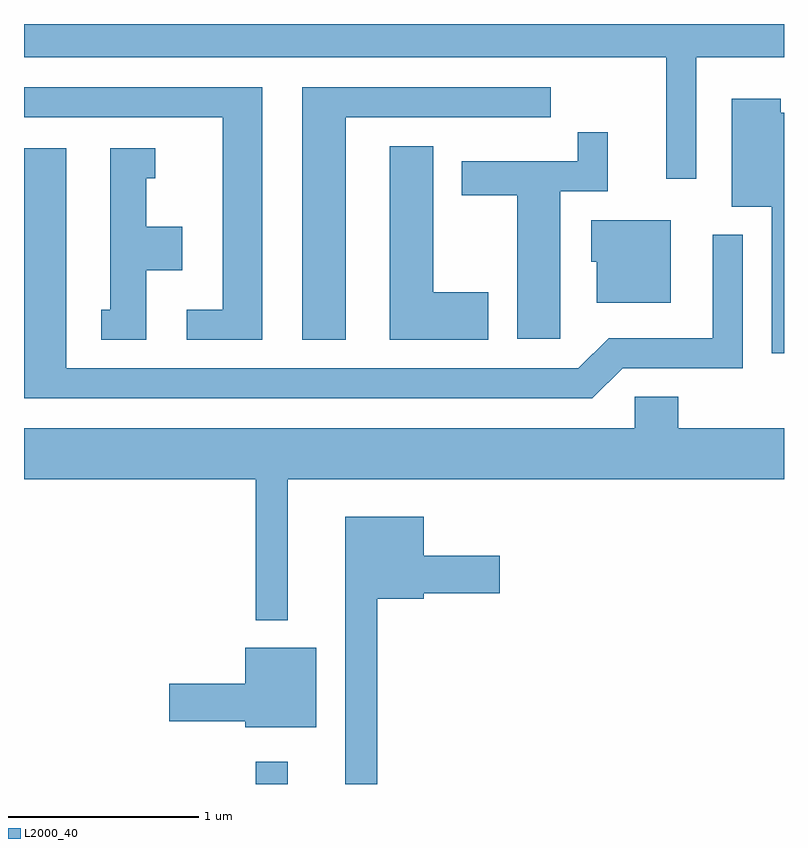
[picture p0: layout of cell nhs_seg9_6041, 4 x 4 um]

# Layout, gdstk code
import gdstk
lib = gdstk.Library(unit=1e-6, precision=1e-09)
def R(c, l, rs):  # rectangles x0, y0, x1, y1
    for r in rs: c.add(gdstk.rectangle(r[:2], r[2:], *l))
def P(c, l, *ps):  # polygons
    for p in ps: c.add(gdstk.Polygon(p, *l))
L2000_40 = (2000, 40)

nhs_seg9_6041 = lib.new_cell('nhs_seg9_6041')
R(nhs_seg9_6041, L2000_40, [(364.831,1992.432,364.999,1992.548)])
P(nhs_seg9_6041, L2000_40, [(367.149,1996.256),(367.611,1996.256),(367.611,1996.432),(363.611,1996.432),(363.611,1996.256),(366.991,1996.256),(366.991,1995.618),(367.149,1995.618)],
  [(365.304,1995.941),(366.383,1995.941),(366.383,1996.099),(365.076,1996.099),(365.076,1994.771),(365.304,1994.771)],
  [(364.864,1996.099),(363.611,1996.099),(363.611,1995.941),(364.656,1995.941),(364.656,1994.929),(364.468,1994.929),(364.468,1994.771),(364.864,1994.771)],
  [(367.611,1995.964),(367.594,1995.964),(367.594,1996.039),(367.336,1996.039),(367.336,1995.471),(367.546,1995.471),(367.546,1994.698),(367.611,1994.698)],
  [(366.434,1995.551),(366.684,1995.551),(366.684,1995.863),(366.526,1995.863),(366.526,1995.709),(365.916,1995.709),(365.916,1995.531),(366.206,1995.531),(366.206,1994.776),(366.434,1994.776)],
  [(366.054,1995.019),(365.764,1995.019),(365.764,1995.789),(365.536,1995.789),(365.536,1994.771),(366.054,1994.771)],
  [(366.762,1994.621),(367.394,1994.621),(367.394,1995.323),(367.236,1995.323),(367.236,1994.779),(366.689,1994.779),(366.529,1994.619),(363.834,1994.619),(363.834,1995.779),(363.611,1995.779),(363.611,1994.461),(366.602,1994.461)],
  [(364.254,1995.136),(364.444,1995.136),(364.444,1995.364),(364.254,1995.364),(364.254,1995.621),(364.303,1995.621),(364.303,1995.779),(364.066,1995.779),(364.066,1994.929),(364.018,1994.929),(364.018,1994.771),(364.254,1994.771)],
  [(367.014,1995.399),(366.596,1995.399),(366.596,1995.181),(366.626,1995.181),(366.626,1994.966),(367.014,1994.966)],
  [(364.999,1994.036),(367.611,1994.036),(367.611,1994.304),(367.054,1994.304),(367.054,1994.469),(366.826,1994.469),(366.826,1994.304),(363.611,1994.304),(363.611,1994.036),(364.831,1994.036),(364.831,1993.293),(364.999,1993.293)],
  [(365.469,1993.406),(365.714,1993.406),(365.714,1993.436),(366.114,1993.436),(366.114,1993.634),(365.714,1993.634),(365.714,1993.839),(365.301,1993.839),(365.301,1992.432),(365.469,1992.432)],
  [(365.149,1993.149),(364.776,1993.149),(364.776,1992.959),(364.376,1992.959),(364.376,1992.761),(364.776,1992.761),(364.776,1992.731),(365.149,1992.731)])

lib.write_gds('nhs_seg9_6041.gds')
